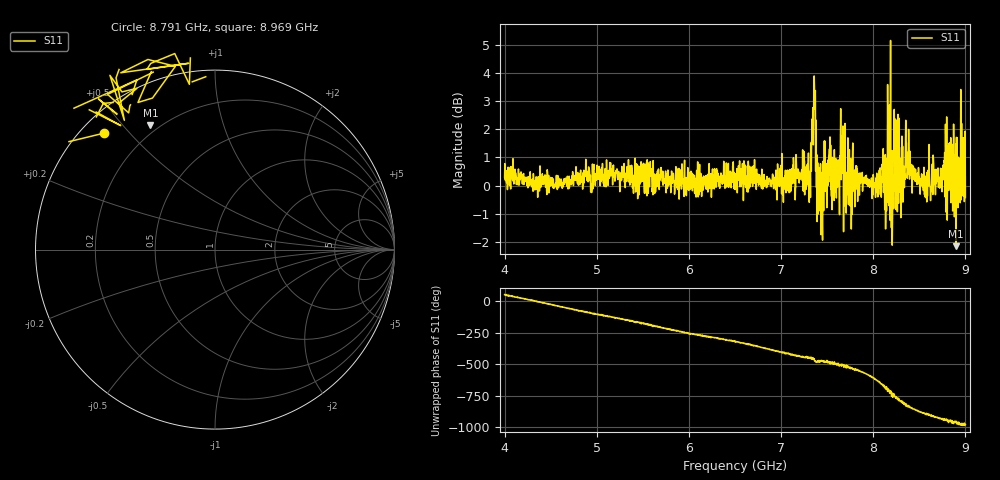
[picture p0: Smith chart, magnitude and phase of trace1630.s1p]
! Created with skrf 1.8.0 (http://scikit-rf.org).
# Hz S RI R 50.0
!freq ReS11 ImS11
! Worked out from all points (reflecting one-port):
!   1601 points, 4 GHz to 9 GHz, reference 50 ohm
!   lowest |S11| = -2.2 dB at 8.9 GHz (marker M1), VSWR 8.09, Z = 8.41 + j29.7 ohm
!   phase of S11 starts at 53 deg and turns -1034 deg over the sweep
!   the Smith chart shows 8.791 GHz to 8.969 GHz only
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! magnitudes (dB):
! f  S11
! 4 GHz  0.3
! 4.625 GHz  -0.1
! 5.25 GHz  -0.2
! 5.875 GHz  0.0
! 6.5 GHz  0.2
! 7.038 GHz  0.1
! 7.125 GHz  0.2
! 7.294 GHz  0.7
! 7.356 GHz  3.9
! 7.378 GHz  2.3
! 7.4 GHz  0.5
! 7.428 GHz  0.8
! 7.512 GHz  0.9
! 7.609 GHz  0.4
! 7.669 GHz  1.7
! 7.703 GHz  0.0
! 7.75 GHz  0.0
! 8.128 GHz  0.3
! 8.178 GHz  2.9
! 8.222 GHz  -0.8
! 8.253 GHz  1.2
! 8.312 GHz  1.8
! 8.375 GHz  0.5
! 8.556 GHz  -0.3
! 8.775 GHz  1.2
! 8.9 GHz  -2.2
! 8.972 GHz  0.5
! 9 GHz  -0.4
